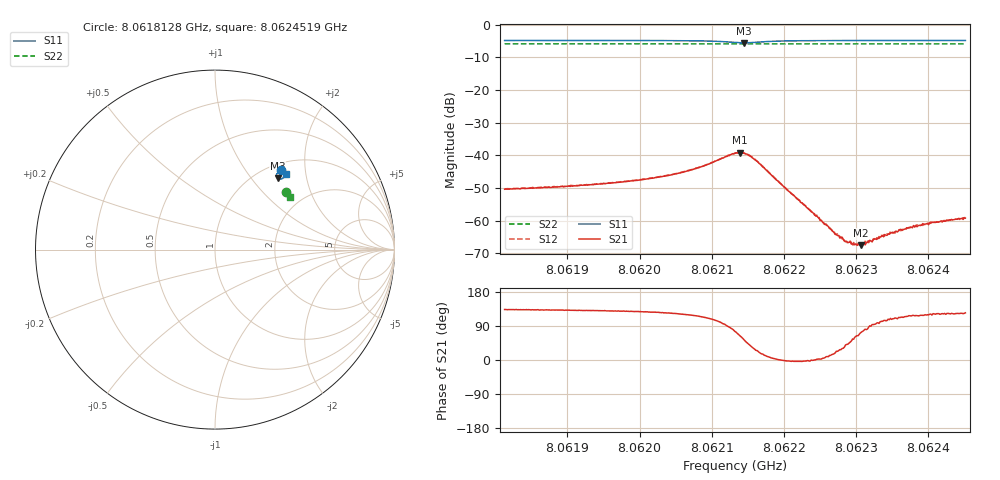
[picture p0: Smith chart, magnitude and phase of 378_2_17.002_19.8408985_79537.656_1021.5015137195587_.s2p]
#  HZ  S  RI  R  50.00
! Rohde & Schwarz Vector Network Analyzer
! Rohde-Schwarz,ZNB20-2Port,1311601062101988,3.16
! Created: UTC 3/20/2024, 11:09:01 PM
! freq[Hz]  re:S11  im:S11  re:S21  im:S21  re:S12  im:S12  re:S22  im:S22
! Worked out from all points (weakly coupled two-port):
!   401 points, 8.0618128 GHz to 8.0624519 GHz, reference 50 ohm
!   highest |S21| = -39.19 dB at 8.0621387 GHz (marker M1); lowest = -67.7 dB at 8.0623065 GHz (marker M2)
!   lowest |S11| = -5.5 dB at 8.0621451 GHz (marker M3), VSWR 3.25, Z = 61.8 + j68.4 ohm
!   |S11| at or under -10 dB: nowhere
!   |S22| runs from -5.9 to -5.8 dB; largest |S21 - S12| = 0.00085
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8.0618128e9  0.3649 0.4456  -0.00207 0.00219  -0.00194 0.00234  0.3979 0.323
8.06191985e9  0.3726 0.4392  -0.00228 0.00263  -0.00213 0.00276  0.402 0.3177
8.06197418e9  0.3766 0.435  -0.00244 0.00301  -0.00231 0.00319  0.4039 0.3149
8.0620269e9  0.381 0.4294  -0.00269 0.00376  -0.00248 0.00396  0.4059 0.3121
8.06207483e9  0.385 0.4199  -0.00281 0.00543  -0.00254 0.0056  0.4076 0.3094
8.06213235e9  0.3663 0.3923  0.00272 0.0104  0.0033 0.0102  0.4085 0.3056
8.06213874e9  0.3573 0.3931  0.00468 0.00993  0.00523 0.0097  0.4083 0.3055
8.06214514e9  0.349 0.3979  0.00652 0.00863  0.00701 0.00818  0.4083 0.3055
8.06215472e9  0.3424 0.41  0.00776 0.00559  0.00806 0.00512  0.4083 0.3056
8.06216431e9  0.3436 0.4215  0.00726 0.00305  0.00751 0.00252  0.4089 0.3056
8.0622394e9  0.3725 0.4345  0.00134 -2.1e-05  0.00135 -8.97e-05  0.4129 0.3023
8.06227136e9  0.3776 0.4324  0.000582 0.000199  0.00059 0.000163  0.4143 0.3006
8.06228733e9  0.3797 0.4314  0.000362 0.000313  0.00038 0.000276  0.4148 0.2998
8.06229852e9  0.3809 0.4307  0.000211 0.000369  0.00026 0.000351  0.4153 0.2991
8.06230651e9  0.3816 0.4302  0.00013 0.000394  0.000176 0.000383  0.4156 0.2987
8.0623145e9  0.3825 0.4297  7.74e-05 0.00045  0.000102 0.00043  0.4158 0.2985
8.06234645e9  0.3854 0.4277  -0.000176 0.000594  -0.000125 0.000607  0.417 0.2966
8.0623832e9  0.3882 0.4253  -0.000382 0.000737  -0.000305 0.000788  0.4182 0.2948
8.06239598e9  0.3893 0.4247  -0.000433 0.000765  -0.000385 0.000776  0.4187 0.2941
8.06240717e9  0.3901 0.4241  -0.0005 0.000793  -0.000457 0.000851  0.4193 0.2935
8.06241675e9  0.3907 0.4237  -0.000488 0.000832  -0.000489 0.000837  0.4195 0.293
8.0624519e9  0.3931 0.4215  -0.000616 0.000894  -0.000577 0.000953  0.4206 0.2913
